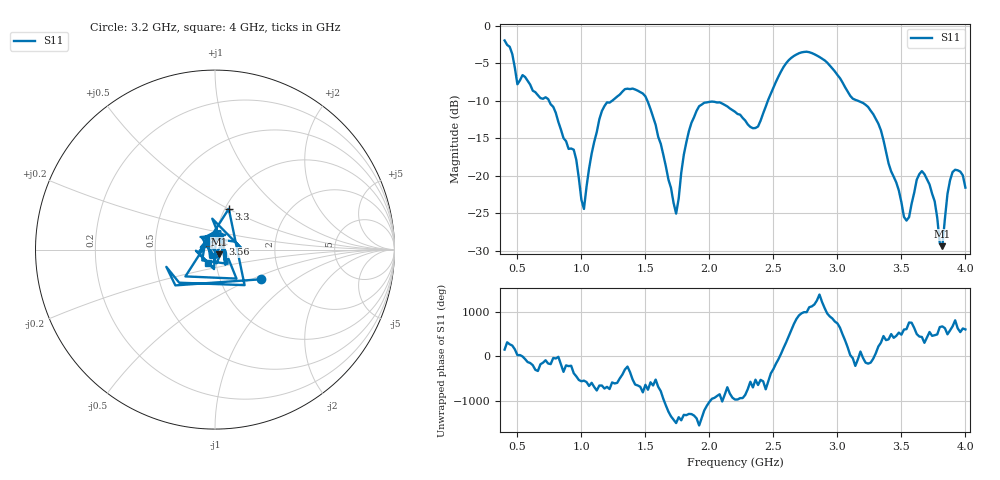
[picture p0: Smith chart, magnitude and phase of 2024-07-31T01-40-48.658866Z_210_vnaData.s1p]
!Created with skrf (http://scikit-rf.org).
# Hz S RI R 50.0
!freq ReS11 ImS11
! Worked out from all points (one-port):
!   181 points, 400 MHz to 4 GHz, reference 50 ohm
!   lowest |S11| = -29.4 dB at 3.82 GHz (marker M1), VSWR 1.07, Z = 52.2 - j2.71 ohm
!   |S11| at or under -10 dB: 746.7 MHz to 1.24 GHz (493 MHz wide, 49.6 % of centre); 1.515 GHz to 2.457 GHz (941.3 MHz wide, 47.4 % of centre); 3.161 GHz to end of sweep
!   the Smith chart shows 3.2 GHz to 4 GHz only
!   S11 on the Smith chart (normalised r, x): 3.2 GHz: 1.57, -0.57; 3.3 GHz: 1.04, +0.50; 3.56 GHz: 1.09, +0.07; 4 GHz: 0.92, -0.14
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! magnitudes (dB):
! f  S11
! 400 MHz  -2.0
! 500 MHz  -7.8
! 740 MHz  -9.8
! 860 MHz  -15.0
! 940 MHz  -16.5
! 1.02 GHz  -24.4
! 1.16 GHz  -11.4
! 1.3 GHz  -9.2
! 1.5 GHz  -9.4
! 1.74 GHz  -25.0
! 1.76 GHz  -23.0
! 1.82 GHz  -15.5
! 1.92 GHz  -10.7
! 2.2 GHz  -11.5
! 2.38 GHz  -13.4
! 2.66 GHz  -4.0
! 2.9 GHz  -4.6
! 3.1 GHz  -9.3
! 3.2 GHz  -10.3
! 3.3 GHz  -12.4
! 3.52 GHz  -25.5
! 3.56 GHz  -25.5
! 3.66 GHz  -19.4
! 3.76 GHz  -23.4
! 3.82 GHz  -29.4
! 3.86 GHz  -22.4
! 3.9 GHz  -19.5
! 4 GHz  -21.6
